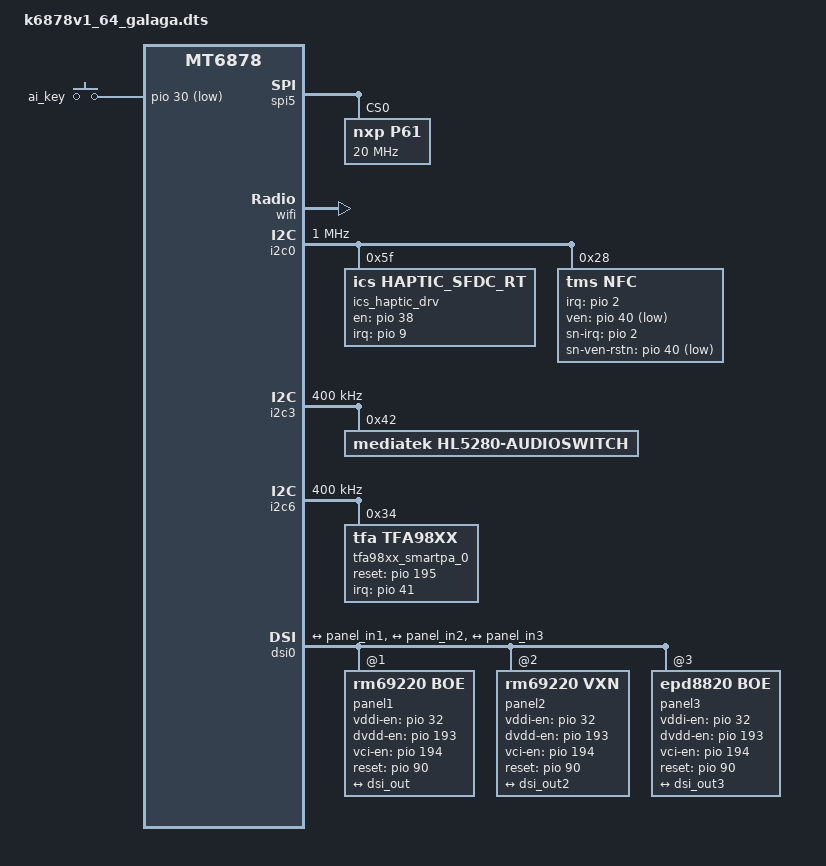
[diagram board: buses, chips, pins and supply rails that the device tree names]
// SPDX-License-Identifier: (GPL-2.0 OR MIT)
/*
 * Copyright (C) 2022 MediaTek Inc.
 */
#include "k6878v1_64.dts"

/ {
    hw_rev = <1>;
};

/* Trustonic Mobilecore real driver */
&mobicore{
	trustonic,real-drv=<1>;
};

&mtk_leds {
	compatible = "mediatek,disp-leds";

	backlight {
		led-mode = <4>;
	};
};

/*
NFC Ese equipment configuration
*/
&spi5 {
	status = "okay";
	p61@0 {
		compatible = "nxp,p61";
		reg = <0>;
		spi-max-frequency = <20000000>;
		nxp,nfcc = "0-0028";
	};
};

/* 
 * project-check == 1 
 */
&wifi {
    project-check = <1>;
};

&i2c0 {
	clock-frequency = <1000000>;
	status = "ok";

	ics_haptic_drv: ics_haptic@5f {
		compatible = "ics,haptic_sfdc_rt";
		reg = <0x5f>;
		device-name = "vibrator_nt";
		richtap-name = "aac_richtap";
		pinctrl-names = "default";
		gpio-en = <&pio 38 0>;
		gpio-irq = <&pio 9 0>;
		// rt6010 chip configuration
		rt6010_chip_id = <0x6B>;
		rt6010_reg_size = <0x6C>;
		rt6010_ram_size = <0x600>;
		rt6010_sys_f0 = <2100>;
		rt6010_list_base_addr = <0x400>;
		rt6010_wave_base_addr = <0x420>;
		rt6010_fifo_ae = <0x200>;
		rt6010_fifo_af = <0x300>;
		rt6010_boost_mode = <0x00>;
		rt6010_boost_vol = <0x0A>;
		rt6010_gain = <0x80>;
		rt6010_brake_en = <0>;
		rt6010_brake_wave_no = <0>;
		rt6010_brake_const = <0>;
		rt6010_brake_acq_point = <0>;
		status = "ok";
	};
};

&i2c0 {
	clock-frequency = <1000000>;
	nfc@0x28 {
		status = "okay";
		compatible = "tms,nfc";
		reg = <0x28>;
		tms,device-name   = "tms_nfc";
		tms,device-count  = <1>;
		tms,irq-gpio      = <&pio 2 0>;
		tms,ven-gpio      = <&pio 40 1>;
		nxp,sn-irq        = <&pio 2 0>; 
		nxp,sn-ven-rstn   = <&pio 40 1>;
	}; 

};

&i2c3 {
	clock-frequency = <400000>;
	hl5280-audioswitch@42 {
		compatible = "mediatek,hl5280-audioswitch";
		reg = <0x42>;
	};
};

&gpio_board_id {
	compatible = "gpio,board-id,galaga";
	board_id_gpio0 = <&pio 34 0x0>;
	board_id_gpio1 = <&pio 36 0x0>;
	board_id_gpio2 = <&pio 3 0x0>;
	board_id_gpio3 = <&pio 37 0x0>;
	board_id_gpio4 = <&pio 189 0x0>;
};

&i2c6 {
	clock-frequency = <400000>;
	tfa98xx_smartpa_0: tfa98xx@34 {
		compatible = "tfa,tfa98xx";
		#sound-dai-cells = <0>;
		reg = <0x34>;
		reset-gpio= <&pio 195 0>;
		reset-polarity=<1>;
		irq-gpio=<&pio 41 0>;
	};
};

&sound {
	mediatek,speaker-codec {
		sound-dai = <&tfa98xx_smartpa_0>;
	};
};

&snd_audio_dsp {
	mtk-dsp-call-final = <0x5 0xc 0x11 0x10 0x18000>;
	swdsp-smartpa-process-enable = <0x5>;
};

&afe {
	etdm-align-mode = <0>;
};

&dsi0 {
	status = "okay";
	#address-cells = <1>;
	#size-cells = <0>;
	switch-fps = <120>;

	panel1@0 {
		compatible = "rm69220,boe";
		reg = <1>;
		vddi-en-gpios = <&pio 32 0>;
		dvdd-en-gpios = <&pio 193 0>;
		vci-en-gpios = <&pio 194 0>;
		reset-gpios = <&pio 90 0>;
		is-support-write-key = <0>;
		esd-readreg-per-cycle = <1>;		// Every esd check period (2s), only read one register
		esd-check-num = <2>;
		mipi-drive-capability = <0x06>;
		port {
			panel_in1: endpoint {
				remote-endpoint = <&dsi_out>;
			};
		};
	};
	panel2@1 {
		compatible = "rm69220,vxn";
		reg = <2>;
		vddi-en-gpios = <&pio 32 0>;
		dvdd-en-gpios = <&pio 193 0>;
		vci-en-gpios = <&pio 194 0>;
		reset-gpios = <&pio 90 0>;
		is-support-write-key = <0>;
		esd-readreg-per-cycle = <1>;
		esd-check-num = <1>;
		pinctrl-names = "default";
		port {
			panel_in2: endpoint {
				remote-endpoint = <&dsi_out2>;
			};
		};
	};
	panel3@2 {
		compatible = "epd8820,boe";
		reg = <3>;
		vddi-en-gpios = <&pio 32 0>;
		dvdd-en-gpios = <&pio 193 0>;
		vci-en-gpios = <&pio 194 0>;
		reset-gpios = <&pio 90 0>;
		is-support-write-key = <0>;
		esd-readreg-per-cycle = <1>;
		esd-check-num = <1>;
		mipi-drive-capability = <0x08>;
		pinctrl-names = "default";
		port {
			panel_in3: endpoint {
				remote-endpoint = <&dsi_out3>;
			};
		};
	};

	ports {
		port {
			dsi_out: endpoint@0 {
				remote-endpoint = <&panel_in1>;
			};
			dsi_out2: endpoint@1 {
				remote-endpoint = <&panel_in2>;
			};
			dsi_out3: endpoint@2 {
				remote-endpoint = <&panel_in3>;
			};
		};
	};
};

&mtk_leds {
	backlight {
		default-state = "third";	// lk panel on set 1/3 max brightness
	};
};

	&mtee_svp {
		mtee: MTEE {
			compatible = "mediatek,mtk_svp_on_mtee_support";
		};

		svp: SecureVideoPath {
			compatible = "mediatek,mtk_sec_video_path_support";
		};
	};

&nt_chg {
	project-id = <4>;
};

&mtk_gauge {
	project-id = <4>;
};

&pe5 {
	tdvchg-level-def = <0 0 0 5 25 60 65 70 75>;
	tdvchg-curlmt = <(-1) (-1) (-1) 300 0 100 200 900 (-1)>;
	tbat-level-def = <10 10 10 20 25 35 40 45 50>;
	/*hot 45~50*/
	tbat-t4-to-t5-cv = <4250 4380 4450 4480 4505>;
	tbat-t4-to-t5-curlmt = <2139 2139 2139 2139 2139>;
	/*very warm 40~45*/
	tbat-t3-to-t4-cv = <4250 4380 4450 4480 4505>;
	tbat-t3-to-t4-curlmt = <0 0 0 540 1278>;
	/*warm 35~40*/
	tbat-t2-to-t3-cv = <4250 4380 4450 4480 4505>;
	tbat-t2-to-t3-curlmt = <0 0 0 540 1278>;
	/*normal 20~35*/
	tbat-t1-to-t2-cv = <4250 4380 4450 4480 4505>;
	tbat-t1-to-t2-curlmt = <0 0 0 540 1278>;
	/*cool 10~20*/
	tbat-t0-to-t1-cv = <4150 4250 4300 4480 4505>;
	tbat-t0-to-t1-curlmt = <0 0 540 1032 1278>;
};

&u2port0 {
	mediatek,rev6 = <3>;
};

&charger {
	enable-nt-sw-jeita;
	nt-battery-cv = <4490000>;
	nt-battery-ieoc = <800000>;
	nt-jeita-temp-above-t5-cv = <4100000>;
	nt-jeita-temp-t4-to-t5-cv = <4100000>;
	nt-jeita-temp-t3-to-t4-cv = <4490000>;
	nt-jeita-temp-t2-to-t3-cv = <4490000>;
	nt-jeita-temp-t1-to-t2-cv = <4490000>;
	nt-jeita-temp-t0-to-t1-cv = <4480000>;
	nt-jeita-temp-below-t0-cv = <4100000>;
	nt-jeita-temp-above-t5-ieoc = <500000>;
	nt-jeita-temp-t4-to-t5-ieoc = <500000>;
	nt-jeita-temp-t3-to-t4-ieoc = <800000>;
	nt-jeita-temp-t2-to-t3-ieoc = <800000>;
	nt-jeita-temp-t1-to-t2-ieoc = <650000>;
	nt-jeita-temp-t0-to-t1-ieoc = <500000>;
	nt-jeita-temp-below-t0-ieoc = <500000>;
	nt-temp-t5-thres = <60>;
	nt-temp-t5-thres-minus-x-degree = <57>;
	nt-temp-t4-thres = <45>;
	nt-temp-t4-thres-minus-x-degree = <42>;
	nt-temp-t3-thres = <35>;
	nt-temp-t3-thres-minus-x-degree = <32>;
	nt-temp-t2-thres = <20>;
	nt-temp-t2-thres-plus-x-degree = <23>;
	nt-temp-t1-thres = <10>;
	nt-temp-t1-thres-plus-x-degree = <13>;
	nt-temp-t0-thres = <0>;
	nt-temp-t0-thres-plus-x-degree = <3>;
};

&ssusb {
	dis-cust-pp;
};

&mt6375_chg {
	dis-second-bc12;
};

&mt6375_typec {
	tcpc,en-fod;
};

&mt6375_typec_pd_data {
	pd,sink-cap-ext = /bits/ 8 <0xcf 0x29 0x75 0x63
				    0x00 0x00 0x00 0x00
				    0x00 0x00 0x01 0x00
				    0x00 0x00 0x00 0x00
				    0x01 0x0b 0x0a 0x0a
				    0x21 0x00 0x00 0x00>;
	pd,charging-policy = <0x2>;
	pd,sink-pdo-size = <3>;
	/* Fixed, 5000mV,2000mA 9000mV,2000mA , 9VProg,3000mA*/
	pd,sink-pdo-data = <0x000190c8 0x0002d0c8 0xc0dc323c>;
};

&pio{
	ai_key_default:ai_key_default {
		pins-cmd1-dat {
			pinmux = <PINMUX_GPIO30__FUNC_GPIO30>;
			drive-strength = <2>;
			input-enable;
			bias-pull-up;
		};
	};
};
&gpio_keys {
	pinctrl-0 = <&key_gpio_default &ai_key_default>;
	ai_key {
		label = "ai_key";
		linux,code = <250>;
		linux,input-type = <1>;
		gpios = <&pio 30 1>;
		wakeup-source;
		debounce-interval = <30>;
	};
};

&thermal_zones {
	usb_board: usb_board {
		polling-delay = <0>; /* milliseconds */
		polling-delay-passive = <0>; /* milliseconds */
		thermal-sensors = <&usb_port_thermistor>;

		trips {
			usb_board_crit: usb-board-crit {
				temperature = <119000>;
				hysteresis = <2000>;
				type = "passive";
			};
		};
	};
};

#include <k6878v1_64/cust.dtsi>
#include "mediatek/cust_mt6878_touch_galaga_1080x2392.dtsi"
#include "mediatek/cust_mt6878_galaga_camera_v4l2.dtsi"
#include "mediatek/cust_k6878_connfem.dtsi"
#include "mediatek/sgm41606S.dtsi"
#include "mediatek/sc8541.dtsi"
#include "mediatek/nu2115.dtsi"
#include "goodix_fingerprint_galaga.dtsi"
/*End of this file, DO NOT ADD ANYTHING HERE*/

#include "mediatek/bat_setting/mt6878_battery_prop_galaga.dtsi"
&sc8541 {
	sc,sc8541,en_adc_ctl;
};
